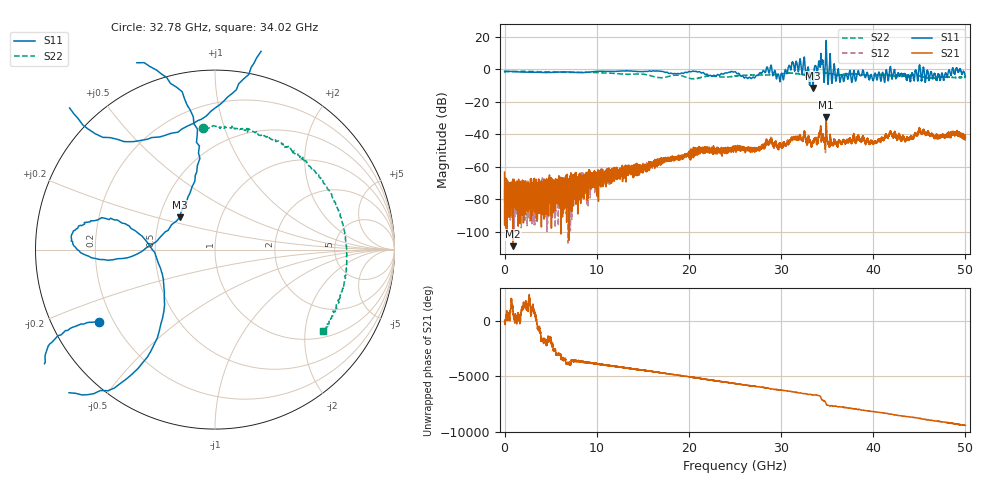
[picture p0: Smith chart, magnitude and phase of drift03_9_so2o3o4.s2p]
!Created with skrf (http://scikit-rf.org).
# Hz S RI R 50.0
!freq ReS11 ImS11 ReS21 ImS21 ReS12 ImS12 ReS22 ImS22
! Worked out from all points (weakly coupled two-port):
!   10001 points, 300 kHz to 50 GHz, reference 50 ohm
!   highest |S21| = -29.69 dB at 34.89 GHz (marker M1); lowest = -108.9 dB at 920.3 MHz (marker M2)
!   lowest |S11| = -11.5 dB at 33.47 GHz (marker M3), VSWR 1.73, Z = 31.8 + j12.3 ohm
!   |S11| at or under -10 dB: 33.44437 GHz to 33.4874 GHz (43.03 MHz wide, 0.129 % of centre)
!   |S22| runs from -6.0 to -1.3 dB; largest |S21 - S12| = 0.0067
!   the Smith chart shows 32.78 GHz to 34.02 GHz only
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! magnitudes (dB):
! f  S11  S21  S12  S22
! 300 kHz  -1.3  -63.3  -66.1  -2.0
! 255.3 MHz  -1.3  -72.6  -77.9  -1.4
! 920.3 MHz  -1.5  -108.9  -72.4  -1.5
! 4.55 GHz  -2.1  -77.7  -84.0  -1.6
! 8.335 GHz  -2.2  -71.0  -69.2  -1.9
! 16.67 GHz  -1.2  -57.3  -56.4  -5.2
! 25 GHz  -1.5  -49.2  -48.2  -4.3
! 26.92 GHz  -4.9  -48.9  -48.9  -3.6
! 28.73 GHz  -2.3  -45.3  -45.9  -3.5
! 30.06 GHz  -2.5  -46.8  -46.9  -2.9
! 31.88 GHz  -1.7  -42.3  -42.5  -2.9
! 33.34 GHz  -2.2  -47.6  -47.5  -2.9
! 33.47 GHz  -11.5  -44.7  -44.8  -2.8
! 34.29 GHz  5.4  -35.4  -35.9  -2.3
! 34.89 GHz  17.3  -29.7  -31.6  -2.5
! 36.59 GHz  -3.6  -45.4  -45.8  -3.6
! 40.18 GHz  -2.5  -44.9  -43.9  -3.7
! 41.67 GHz  -5.9  -41.0  -40.7  -3.7
! 45.22 GHz  -6.2  -38.8  -39.4  -4.6
! 47.07 GHz  -3.1  -42.2  -41.1  -5.1
! 49.22 GHz  -2.0  -40.5  -39.3  -5.1
! 50 GHz  -4.5  -41.9  -42.4  -5.0
